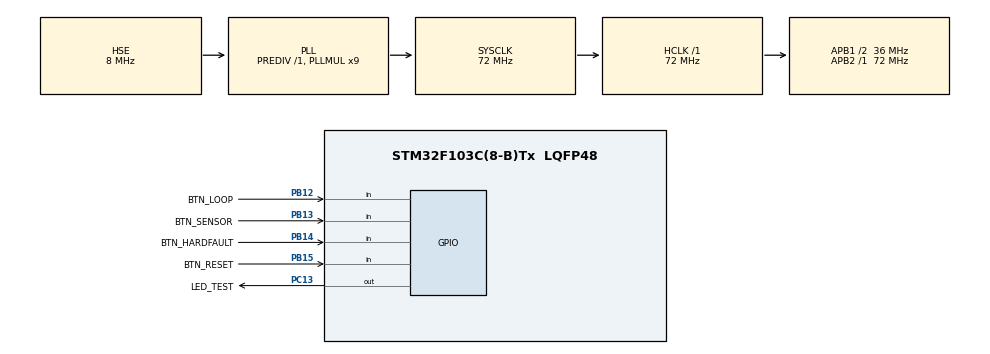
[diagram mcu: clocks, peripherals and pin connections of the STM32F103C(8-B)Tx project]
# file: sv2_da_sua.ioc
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IWDG.Prescaler=IWDG_PRESCALER_32
IWDG.Reload=4095
Mcu.Family=STM32F1
Mcu.Name=STM32F103C(8-B)Tx
Mcu.Package=LQFP48
NVIC.PriorityGroup=NVIC_PRIORITYGROUP_4
NVIC.TIM2_IRQn=true\:0\:0\:false\:false\:true\:true\:true\:true
PA13.Mode=Serial_Wire
PA13.Signal=SYS_JTMS-SWDIO
PA14.Mode=Serial_Wire
PA14.Signal=SYS_JTCK-SWCLK
PB12.GPIO_Label=BTN_LOOP
PB12.GPIO_PuPd=GPIO_PULLUP
PB12.Signal=GPIO_Input
PB13.GPIO_Label=BTN_SENSOR
PB13.GPIO_PuPd=GPIO_PULLUP
PB13.Signal=GPIO_Input
PB14.GPIO_Label=BTN_HARDFAULT
PB14.GPIO_PuPd=GPIO_PULLUP
PB14.Signal=GPIO_Input
PB15.GPIO_Label=BTN_RESET
PB15.GPIO_PuPd=GPIO_PULLUP
PB15.Signal=GPIO_Input
PC13-TAMPER-RTC.GPIO_Label=LED_TEST
PC13-TAMPER-RTC.PinState=GPIO_PIN_SET
PC13-TAMPER-RTC.Signal=GPIO_Output
PD0-OSC_IN.Mode=HSE-External-Oscillator
PD0-OSC_IN.Signal=RCC_OSC_IN
PD1-OSC_OUT.Mode=HSE-External-Oscillator
PD1-OSC_OUT.Signal=RCC_OSC_OUT
ProjectManager.HeapSize=0x200
ProjectManager.StackSize=0x400
ProjectManager.TargetToolchain=MDK-ARM V5.32
RCC.AHBFreq_Value=72000000
RCC.APB1CLKDivider=RCC_HCLK_DIV2
RCC.APB1Freq_Value=36000000
RCC.APB1TimFreq_Value=72000000
RCC.APB2Freq_Value=72000000
RCC.APB2TimFreq_Value=72000000
RCC.HCLKFreq_Value=72000000
RCC.PLLMUL=RCC_PLL_MUL9
RCC.PLLSourceVirtual=RCC_PLLSOURCE_HSE
RCC.SYSCLKFreq_VALUE=72000000
RCC.SYSCLKSource=RCC_SYSCLKSOURCE_PLLCLK
RCC.USBFreq_Value=72000000
TIM2.Period=99
TIM2.Prescaler=7199
VP_IWDG_VS_IWDG.Mode=IWDG_Activate
VP_TIM2_VS_ClockSourceINT.Mode=Internal
board=custom

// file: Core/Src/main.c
/* USER CODE BEGIN Header */
/**
  ******************************************************************************
  * @file           : main.c
  * @brief          : Main program body
  ******************************************************************************
  * @attention
  *
  * Copyright (c) 2026 STMicroelectronics.
  * All rights reserved.
  *
  * This software is licensed under terms that can be found in the LICENSE file
  * in the root directory of this software component.
  * If no LICENSE file comes with this software, it is provided AS-IS.
  *
  ******************************************************************************
  */
/* USER CODE END Header */
#include "main.h"
#include "iwdg.h"
#include "tim.h"
#include "gpio.h"

/* USER CODE BEGIN Includes */
#include "fault_injection.h"
/* USER CODE END Includes */

/* USER CODE BEGIN PTD */
typedef enum {
  RESET_UNKNOWN = 0, RESET_POWER_ON, RESET_PIN, RESET_SOFTWARE,
  RESET_IWDG, RESET_WWDG, RESET_LOW_POWER
} Reset_Cause_t;
/* USER CODE END PTD */

/* USER CODE BEGIN PD */
/* Set to 1 only when deliberately pausing the watchdog at a breakpoint. */
#ifndef SV2_FREEZE_IWDG_ON_DEBUG
#define SV2_FREEZE_IWDG_ON_DEBUG 0
#endif
#define WATCHDOG_REFRESH_MS 100U
/* USER CODE END PD */

/* USER CODE BEGIN PV */
/* Snapshot before RMVF clears hardware flags. Visible in Keil Watch. */
volatile uint32_t g_reset_flags;
volatile Reset_Cause_t g_reset_cause;
/* USER CODE END PV */

void SystemClock_Config(void);
/* USER CODE BEGIN PFP */
static Reset_Cause_t Reset_Decode(uint32_t flags);
/* USER CODE END PFP */

int main(void)
{

  /* USER CODE BEGIN 1 */
  uint32_t t_led;
  uint32_t t_refresh;
  uint32_t last_scan;
  uint8_t startup_toggles;

  g_reset_flags = RCC->CSR;
  g_reset_cause = Reset_Decode(g_reset_flags);
  __HAL_RCC_CLEAR_RESET_FLAGS();
  /* USER CODE END 1 */

  /* MCU Configuration--------------------------------------------------------*/

  /* Reset of all peripherals, Initializes the Flash interface and the Systick. */
  HAL_Init();

  /* Configure the system clock */
  SystemClock_Config();

  /* Initialize all configured peripherals */
  MX_GPIO_Init();
  MX_TIM2_Init();
  MX_IWDG_Init();
  /* USER CODE BEGIN 2 */
#if SV2_FREEZE_IWDG_ON_DEBUG
  __HAL_DBGMCU_FREEZE_IWDG();
#else
  __HAL_DBGMCU_UNFREEZE_IWDG();
#endif

  Fault_Init();
  /* HAL timer init generates an update event. Discard it before scanning. */
  __HAL_TIM_SET_COUNTER(&htim2, 0U);
  __HAL_TIM_CLEAR_FLAG(&htim2, TIM_FLAG_UPDATE);
  HAL_NVIC_ClearPendingIRQ(TIM2_IRQn);
  if (HAL_TIM_Base_Start_IT(&htim2) != HAL_OK) {
    Error_Handler();
  }
  t_led = HAL_GetTick();
  t_refresh = t_led;
  last_scan = Fault_GetScanCount();
  /* Active-low PC13: 3 short flashes for IWDG, 2 software, 1 other boot. */
  startup_toggles = (g_reset_cause == RESET_IWDG) ? 6U :
                    ((g_reset_cause == RESET_SOFTWARE) ? 4U : 2U);
  /* USER CODE END 2 */

  /* Infinite loop */
  /* USER CODE BEGIN WHILE */
  while (1)
  {
    uint32_t now;
    uint32_t scans;
    Fault_Process();
    now = HAL_GetTick();

    if ((uint32_t)(now - t_led) >= ((startup_toggles != 0U) ? 100U : 500U)) {
      t_led = now;
      HAL_GPIO_TogglePin(LED_TEST_GPIO_Port, LED_TEST_Pin);
      if (startup_toggles != 0U) {
        --startup_toggles;
      }
    }

    /* Standalone SV2 demo: both main and the button scanner must progress.
       In the group project, SV1 also checks the sensor/display task health. */
    scans = Fault_GetScanCount();
    if (((uint32_t)(now - t_refresh) >= WATCHDOG_REFRESH_MS) &&
        (scans != last_scan) && (Fault_GetActive() == FAULT_NONE)) {
      if (HAL_IWDG_Refresh(&hiwdg) != HAL_OK) {
        Error_Handler();
      }
      last_scan = scans;
      t_refresh = now;
    }
    /* USER CODE END WHILE */

  }
}

void SystemClock_Config(void)
{
  RCC_OscInitTypeDef RCC_OscInitStruct = {0};
  RCC_ClkInitTypeDef RCC_ClkInitStruct = {0};

  /** Initializes the RCC Oscillators according to the specified parameters
  * in the RCC_OscInitTypeDef structure.
  */
  RCC_OscInitStruct.OscillatorType = RCC_OSCILLATORTYPE_LSI|RCC_OSCILLATORTYPE_HSE;
  RCC_OscInitStruct.HSEState = RCC_HSE_ON;
  RCC_OscInitStruct.HSEPredivValue = RCC_HSE_PREDIV_DIV1;
  RCC_OscInitStruct.HSIState = RCC_HSI_ON;
  RCC_OscInitStruct.LSIState = RCC_LSI_ON;
  RCC_OscInitStruct.PLL.PLLState = RCC_PLL_ON;
  RCC_OscInitStruct.PLL.PLLSource = RCC_PLLSOURCE_HSE;
  RCC_OscInitStruct.PLL.PLLMUL = RCC_PLL_MUL9;
  if (HAL_RCC_OscConfig(&RCC_OscInitStruct) != HAL_OK)
  {
    Error_Handler();
  }

  /** Initializes the CPU, AHB and APB buses clocks
  */
  RCC_ClkInitStruct.ClockType = RCC_CLOCKTYPE_HCLK|RCC_CLOCKTYPE_SYSCLK
                              |RCC_CLOCKTYPE_PCLK1|RCC_CLOCKTYPE_PCLK2;
  RCC_ClkInitStruct.SYSCLKSource = RCC_SYSCLKSOURCE_PLLCLK;
  RCC_ClkInitStruct.AHBCLKDivider = RCC_SYSCLK_DIV1;
  RCC_ClkInitStruct.APB1CLKDivider = RCC_HCLK_DIV2;
  RCC_ClkInitStruct.APB2CLKDivider = RCC_HCLK_DIV1;

  if (HAL_RCC_ClockConfig(&RCC_ClkInitStruct, FLASH_LATENCY_2) != HAL_OK)
  {
    Error_Handler();
  }
}

/* USER CODE BEGIN 4 */
void HAL_TIM_PeriodElapsedCallback(TIM_HandleTypeDef *htim)
{
  if (htim->Instance == TIM2) {
    Fault_Scan_10ms();
  }
}

static Reset_Cause_t Reset_Decode(uint32_t flags)
{
  /* PINRSTF can accompany other sources; give the specific source priority. */
  if ((flags & RCC_CSR_IWDGRSTF) != 0U) { return RESET_IWDG; }
  if ((flags & RCC_CSR_WWDGRSTF) != 0U) { return RESET_WWDG; }
  if ((flags & RCC_CSR_SFTRSTF) != 0U)  { return RESET_SOFTWARE; }
  if ((flags & RCC_CSR_PORRSTF) != 0U) { return RESET_POWER_ON; }
  if ((flags & RCC_CSR_LPWRRSTF) != 0U) { return RESET_LOW_POWER; }
  if ((flags & RCC_CSR_PINRSTF) != 0U) { return RESET_PIN; }
  return RESET_UNKNOWN;
}
/* USER CODE END 4 */

void Error_Handler(void)
{
  __disable_irq();
  while (1)
  {
  }
}
